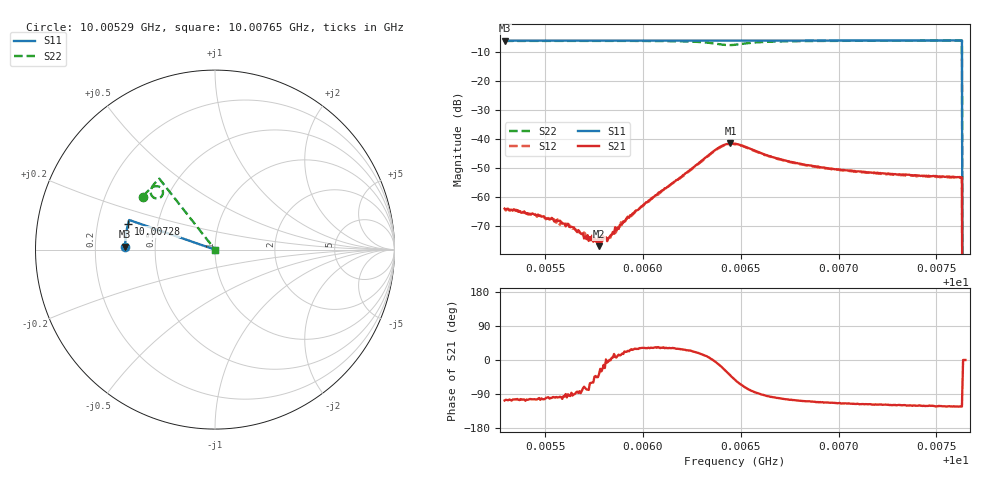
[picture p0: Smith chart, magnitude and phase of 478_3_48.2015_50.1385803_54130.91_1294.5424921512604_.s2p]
#  HZ  S  RI  R  50.00
! Rohde & Schwarz Vector Network Analyzer
! Rohde-Schwarz,ZNB20-2Port,1311601062101988,3.16
! Created: UTC 3/20/2024, 11:57:33 AM
! freq[Hz]  re:S11  im:S11  re:S21  im:S21  re:S12  im:S12  re:S22  im:S22
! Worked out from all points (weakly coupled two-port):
!   401 points, 10.00529 GHz to 10.00765 GHz, reference 50 ohm
!   highest |S21| = -41.58 dB at 10.00645 GHz (marker M1); lowest = -77.1 dB at 10.00578 GHz (marker M2)
!   lowest |S11| = -6.0 dB at 10.00529 GHz (marker M3), VSWR 3.01, Z = 16.6 + j0.714 ohm
!   |S11| at or under -10 dB: 10.00763 GHz to end of sweep
!   |S22| runs from - to -6.0 dB; largest |S21 - S12| = 0.00052
!   S11 on the Smith chart (normalised r, x): 10.00529 GHz: 0.33, +0.01; 10.00728 GHz: 0.34, +0.13; 10.00765 GHz: 1.00, +0.00
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1.0005293e10  -0.5004 0.0161  -0.00018 -0.000597  -0.000133 -0.000596  -0.3987 0.2944
1.0005441e10  -0.5004 0.0256  -0.000121 -0.00049  -0.000111 -0.000486  -0.3928 0.3032
1.000557e10  -0.5001 0.0341  -5.62e-05 -0.000378  -2.45e-05 -0.000358  -0.387 0.3108
1.0005623e10  -0.4998 0.0375  -1.9e-05 -0.000302  -2.1e-05 -0.00033  -0.3846 0.3142
1.0005688e10  -0.4996 0.0418  3.28e-05 -0.000223  2.04e-05 -0.000223  -0.3814 0.318
1.0005723e10  -0.4995 0.044  3.31e-05 -0.000169  8.97e-05 -0.000175  -0.3796 0.3201
1.0005741e10  -0.4996 0.0453  0.000108 -0.000183  8.57e-05 -0.000168  -0.3787 0.3214
1.0005776e10  -0.4994 0.0475  0.000111 -8.41e-05  0.000145 -0.000128  -0.3768 0.3236
1.00058e10  -0.4993 0.049  0.000194 -4.37e-05  0.000183 -4.62e-05  -0.3755 0.325
1.0005823e10  -0.4992 0.0504  0.000191 -1.36e-05  0.000191 -1.29e-05  -0.3741 0.3265
1.0005911e10  -0.4987 0.0563  0.000368 0.000144  0.000348 0.000163  -0.3687 0.332
1.0005964e10  -0.4984 0.0598  0.000506 0.000281  0.000471 0.000322  -0.365 0.3358
1.0006082e10  -0.4978 0.0673  0.001 0.000651  0.000916 0.000648  -0.3547 0.3439
1.0006376e10  -0.4947 0.0862  0.00661 -0.000849  0.00649 -0.000463  -0.2927 0.332
1.0006447e10  -0.4941 0.0903  0.00632 -0.00544  0.00647 -0.00502  -0.3024 0.292
1.0006471e10  -0.4939 0.0917  0.00508 -0.00653  0.00528 -0.0061  -0.3159 0.2856
1.0006677e10  -0.4922 0.1047  -0.000739 -0.00464  -0.000535 -0.00462  -0.3582 0.3262
1.0006865e10  -0.4901 0.1168  -0.00115 -0.00322  -0.00095 -0.00322  -0.3499 0.3493
1.0007259e10  -0.4842 0.1417  -0.00121 -0.00217  -0.00107 -0.00221  -0.3295 0.3762
1.0007283e10  -0.484 0.1431  -0.00117 -0.00213  -0.0011 -0.00215  -0.3282 0.3776
1.0007619e10  -0.478 0.164  -0.00118 -0.00184  -0.00109 -0.00184  -0.3109 0.3946
1.0007648e10  0 0  0 0  0 0  0 0
